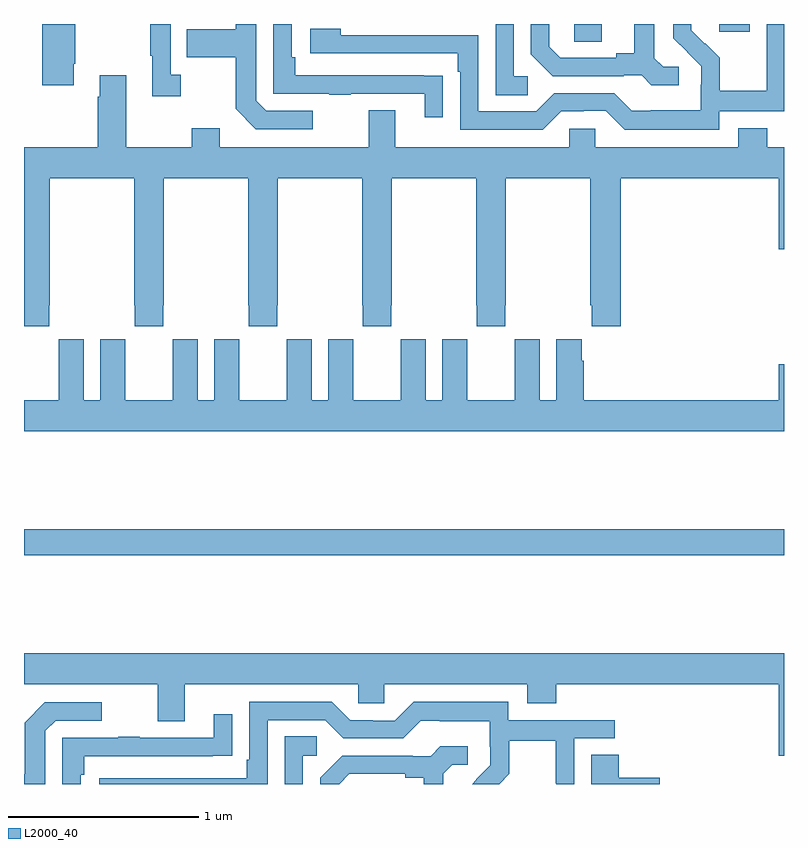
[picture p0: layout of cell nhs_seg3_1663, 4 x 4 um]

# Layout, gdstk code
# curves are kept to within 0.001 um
import gdstk
lib = gdstk.Library(unit=1e-6, precision=1e-09)
def R(c, l, rs):  # rectangles x0, y0, x1, y1
    for r in rs: c.add(gdstk.rectangle(r[:2], r[2:], *l))
def P(c, l, *ps):  # polygons
    for p in ps: c.add(gdstk.Polygon(p, *l))
L2000_40 = (2000, 40)

nhs_seg3_1663 = lib.new_cell('nhs_seg3_1663')
R(nhs_seg3_1663, L2000_40, [(197,693.604,201,693.74), (199.896,696.307,200.041,696.4), (200.66,696.36,200.821,696.4)])
P(nhs_seg3_1663, L2000_40, [(200.446,696.174),(200.364,696.174),(200.317,696.221),(200.317,696.4),(200.213,696.4),(200.213,696.245),(200.117,696.245),(200.117,696.222),(199.822,696.222),(199.765,696.279),(199.765,696.4),(199.668,696.4),(199.668,696.242),(199.784,696.126),(200.156,696.126),(200.156,696.129),(200.25,696.129),(200.302,696.077),(200.446,696.077)],
  [(197.824,696.134),(197.772,696.134),(197.772,696.4),(197.664,696.4),(197.664,696.233),(197.675,696.233),(197.675,696.021),(197.824,696.021)],
  [(199.205,696.128),(199.103,696.128),(199.103,696.129),(198.428,696.129),(198.428,696.226),(198.408,696.226),(198.408,696.4),(198.312,696.4),(198.312,696.033),(198.607,696.033),(198.607,696.028),(198.719,696.028),(198.719,696.033),(199.109,696.033),(199.109,695.91),(199.205,695.91)],
  [(200.658,695.94),(201,695.94),(201,696.4),(200.91,696.4),(200.91,696.272),(200.908,696.272),(200.908,696.049),(200.663,696.049),(200.663,696.223),(200.586,696.3),(200.583,696.297),(200.513,696.368),(200.513,696.4),(200.418,696.4),(200.418,696.326),(200.564,696.178),(200.564,696.081),(200.562,696.081),(200.562,695.947),(200.299,695.947),(200.299,695.943),(200.199,695.943),(200.106,696.036),(199.791,696.036),(199.695,695.94),(199.392,695.94),(199.392,696.342),(198.668,696.342),(198.668,696.376),(198.507,696.376),(198.507,696.246),(199.283,696.246),(199.283,696.149),(199.296,696.149),(199.296,695.844),(199.731,695.844),(199.827,695.94),(199.946,695.94),(199.946,695.943),(200.061,695.943),(200.161,695.843),(200.658,695.843)],
  [(198.52,695.943),(198.276,695.943),(198.222,695.997),(198.222,696.4),(198.114,696.4),(198.114,696.373),(197.857,696.373),(197.857,696.226),(198.114,696.226),(198.114,695.953),(198.219,695.847),(198.52,695.847)],
  [(199.651,696.126),(199.578,696.126),(199.578,696.4),(199.482,696.4),(199.482,696.025),(199.651,696.025)],
  [(197.263,696.19),(197.271,696.19),(197.271,696.4),(197.096,696.4),(197.096,696.078),(197.263,696.078)],
  [(197.133,694.921),(197.136,694.921),(197.136,695.588),(197.581,695.588),(197.581,694.921),(197.583,694.921),(197.583,694.809),(197.733,694.809),(197.733,694.921),(197.736,694.921),(197.736,695.588),(198.181,695.588),(198.181,694.921),(198.183,694.921),(198.183,694.809),(198.333,694.809),(198.333,694.921),(198.336,694.921),(198.336,695.588),(198.781,695.588),(198.781,694.921),(198.783,694.921),(198.783,694.809),(198.933,694.809),(198.933,694.921),(198.936,694.921),(198.936,695.588),(199.381,695.588),(199.381,694.921),(199.383,694.921),(199.383,694.809),(199.533,694.809),(199.533,694.921),(199.536,694.921),(199.536,695.588),(199.981,695.588),(199.981,694.921),(199.987,694.921),(199.987,694.809),(200.141,694.809),(200.141,695.588),(200.972,695.588),(200.972,695.214),(201,695.214),(201,695.752),(200.912,695.752),(200.912,695.851),(200.759,695.851),(200.759,695.752),(200.007,695.752),(200.007,695.85),(199.869,695.85),(199.869,695.752),(198.955,695.752),(198.955,695.947),(198.815,695.947),(198.815,695.752),(198.031,695.752),(198.031,695.851),(197.884,695.851),(197.884,695.752),(197.539,695.752),(197.539,696.13),(197.399,696.13),(197.399,696.017),(197.387,696.017),(197.387,695.752),(197,695.752),(197,694.809),(197.133,694.809)],
  [(201,694.609),(200.972,694.609),(200.972,694.42),(199.946,694.42),(199.946,694.628),(199.936,694.628),(199.936,694.741),(199.802,694.741),(199.802,694.42),(199.714,694.42),(199.714,694.741),(199.584,694.741),(199.584,694.628),(199.583,694.628),(199.583,694.42),(199.333,694.42),(199.333,694.628),(199.332,694.628),(199.332,694.741),(199.202,694.741),(199.202,694.42),(199.114,694.42),(199.114,694.741),(198.984,694.741),(198.984,694.628),(198.983,694.628),(198.983,694.42),(198.733,694.42),(198.733,694.628),(198.732,694.628),(198.732,694.741),(198.602,694.741),(198.602,694.42),(198.514,694.42),(198.514,694.741),(198.384,694.741),(198.384,694.628),(198.383,694.628),(198.383,694.42),(198.133,694.42),(198.133,694.628),(198.132,694.628),(198.132,694.741),(198.002,694.741),(198.002,694.42),(197.914,694.42),(197.914,694.741),(197.784,694.741),(197.784,694.628),(197.783,694.628),(197.783,694.42),(197.533,694.42),(197.533,694.628),(197.532,694.628),(197.532,694.741),(197.402,694.741),(197.402,694.42),(197.314,694.42),(197.314,694.741),(197.184,694.741),(197.184,694.628),(197.183,694.628),(197.183,694.42),(197,694.42),(197,694.256),(201,694.256)],
  [(201,693.088),(197,693.088),(197,692.924),(197.705,692.924),(197.705,692.73),(197.845,692.73),(197.845,692.924),(198.759,692.924),(198.759,692.826),(198.897,692.826),(198.897,692.924),(199.649,692.924),(199.649,692.825),(199.802,692.825),(199.802,692.924),(200.972,692.924),(200.972,692.55),(201,692.55)],
  [(198.282,692.736),(198.585,692.736),(198.681,692.64),(198.996,692.64),(199.089,692.733),(199.189,692.733),(199.189,692.729),(199.452,692.729),(199.452,692.595),(199.454,692.595),(199.454,692.498),(199.38,692.424),(199.381,692.423),(199.358,692.4),(199.5,692.4),(199.553,692.453),(199.553,692.628),(199.798,692.628),(199.798,692.404),(199.8,692.404),(199.8,692.4),(199.896,692.4),(199.896,692.64),(200.11,692.64),(200.11,692.736),(199.548,692.736),(199.548,692.833),(199.051,692.833),(198.951,692.733),(198.836,692.733),(198.836,692.736),(198.717,692.736),(198.621,692.832),(198.186,692.832),(198.186,692.527),(198.173,692.527),(198.173,692.43),(197.397,692.43),(197.397,692.4),(198.282,692.4)],
  [(197.112,692.679),(197.166,692.733),(197.41,692.733),(197.41,692.829),(197.109,692.829),(197.004,692.723),(197.004,692.451),(197,692.451),(197,692.4),(197.112,692.4)],
  [(197.298,692.45),(197.318,692.45),(197.318,692.547),(197.993,692.547),(197.993,692.548),(198.095,692.548),(198.095,692.767),(197.999,692.767),(197.999,692.643),(197.609,692.643),(197.609,692.648),(197.497,692.648),(197.497,692.643),(197.202,692.643),(197.202,692.4),(197.298,692.4)],
  [(198.468,692.55),(198.541,692.55),(198.541,692.651),(198.372,692.651),(198.372,692.4),(198.468,692.4)],
  [(198.712,692.454),(199.007,692.454),(199.007,692.432),(199.103,692.432),(199.103,692.4),(199.207,692.4),(199.207,692.455),(199.254,692.502),(199.336,692.502),(199.336,692.599),(199.192,692.599),(199.14,692.547),(199.046,692.547),(199.046,692.55),(198.674,692.55),(198.558,692.434),(198.558,692.4),(198.658,692.4)],
  [(200.347,692.432),(200.129,692.432),(200.129,692.555),(199.985,692.555),(199.985,692.4),(200.347,692.4)])

lib.write_gds('nhs_seg3_1663.gds')
